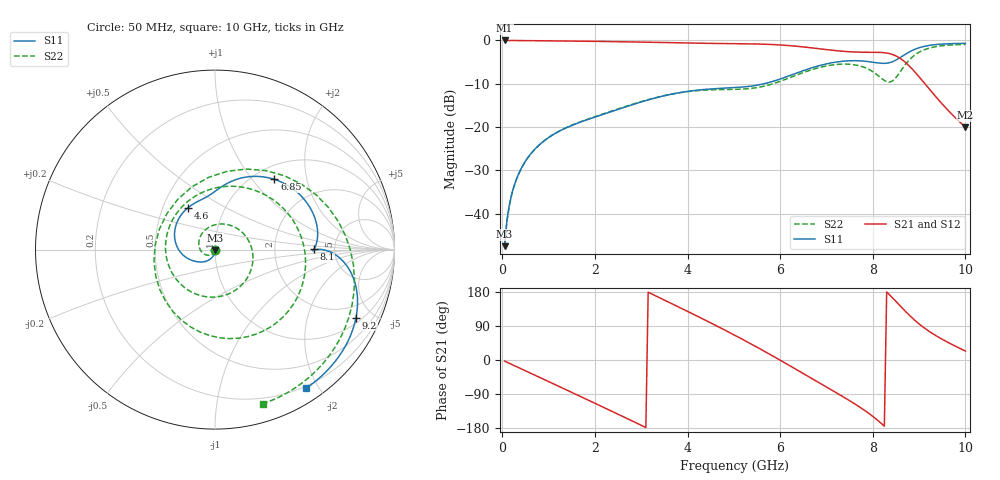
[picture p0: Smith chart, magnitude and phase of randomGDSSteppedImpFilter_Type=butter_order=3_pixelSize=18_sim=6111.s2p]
! freq	dB(S11)	phase(S11)	dB(S12)	phase(S12)
!  dB(S21)	phase(S21)	dB(S22)	phase(S22)
!S-par simulation data
#  GHz  S  DB  R 50
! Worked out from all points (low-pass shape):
!   200 points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, 50 MHz to 10 GHz, reference 50 ohm
!   highest |S21| = -0.01 dB at 50 MHz (marker M1); lowest = -20.0 dB at 10 GHz (marker M2)
!   |S21| within 3 dB of the highest: start of sweep to 8.346 GHz
!   lowest |S11| = -47.5 dB at 50 MHz (marker M3), VSWR 1.01, Z = 50 - j0.422 ohm
!   |S11| at or under -10 dB: start of sweep to 5.65 GHz
!   |S22| runs from -47.3 to -0.9 dB; largest |S21 - S12| = 0
!   S11 on the Smith chart (normalised r, x): 50 MHz: 1.00, -0.01; 4.6 GHz: 0.67, +0.34; 6.85 GHz: 1.23, +1.30; 8.1 GHz: 3.45, +0.02; 9.2 GHz: 1.26, -4.00; 10 GHz: 0.17, -1.84
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0.05  -47.48 -85.9  -0.01 -2.9  -0.01 -2.9  -47.34 -89.6
0.2  -35.63 -95.8  -0.02 -11.5  -0.02 -11.5  -35.74 -104.8
0.5  -27.85 -107.6  -0.05 -28.5  -0.05 -28.5  -27.91 -129.8
1.15  -21.41 -129.0  -0.11 -65.5  -0.11 -65.5  -21.39 176.0
1.75  -18.61 -144.6  -0.18 -99.8  -0.18 -99.8  -18.53 123.0
2.65  -15.38 -166.2  -0.32 -151.8  -0.32 -151.8  -15.27 41.2
3.4  -13.01 169.7  -0.48 164.1  -0.48 164.1  -12.97 -22.1
4.05  -11.68 144.5  -0.61 125.3  -0.61 125.3  -11.76 -73.8
4.6  -11.13 123.2  -0.69 91.7  -0.69 91.7  -11.37 -119.3
5.05  -10.87 108.0  -0.74 63.4  -0.74 63.4  -11.28 -161.2
5.9  -9.26 85.6  -0.98 6.5  -0.98 6.5  -9.81 105.3
6.7  -6.27 56.5  -1.74 -50.0  -1.74 -50.0  -6.69 21.4
6.85  -5.80 49.8  -1.93 -60.6  -1.93 -60.6  -6.24 7.2
7.25  -4.93 31.2  -2.41 -89.1  -2.41 -89.1  -5.51 -29.8
7.65  -4.68 13.5  -2.69 -118.8  -2.69 -118.8  -5.71 -69.3
8.1  -5.18 0.2  -2.73 -158.5  -2.73 -158.5  -7.99 -133.5
8.35  -5.16 -0.3  -3.01 173.6  -3.01 173.6  -9.62 159.9
8.7  -3.21 -3.5  -5.02 129.1  -5.02 129.1  -5.62 57.2
8.95  -1.87 -13.9  -7.77 100.2  -7.77 100.2  -3.05 13.0
9.2  -1.18 -25.8  -10.95 77.0  -10.95 77.0  -1.83 -17.1
9.55  -0.81 -40.7  -15.27 51.3  -15.27 51.3  -1.17 -46.3
10  -0.68 -56.7  -20.02 23.6  -20.02 23.6  -0.92 -72.7
